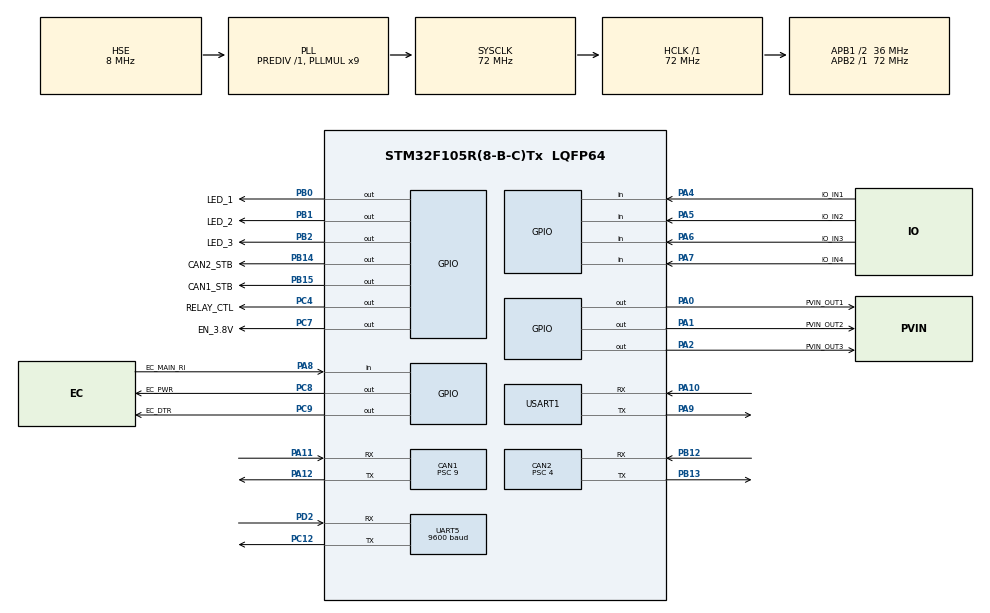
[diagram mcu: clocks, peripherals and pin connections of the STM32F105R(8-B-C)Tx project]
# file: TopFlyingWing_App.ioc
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CAN1.AWUM=ENABLE
CAN1.BS1=CAN_BS1_13TQ
CAN1.BS2=CAN_BS2_2TQ
CAN1.CalculateBaudRate=250000
CAN1.CalculateTimeBit=4000
CAN1.CalculateTimeQuantum=250.0
CAN1.NART=ENABLE
CAN1.Prescaler=9
CAN2.AWUM=ENABLE
CAN2.BS1=CAN_BS1_15TQ
CAN2.BS2=CAN_BS2_2TQ
CAN2.CalculateBaudRate=500000
CAN2.CalculateTimeBit=2000
CAN2.CalculateTimeQuantum=111.11111111111111
CAN2.NART=ENABLE
CAN2.Prescaler=4
Dma.Request0=USART1_RX
Dma.Request1=USART1_TX
Dma.USART1_RX.0.Direction=DMA_PERIPH_TO_MEMORY
Dma.USART1_RX.0.Instance=DMA1_Channel5
Dma.USART1_RX.0.MemDataAlignment=DMA_MDATAALIGN_BYTE
Dma.USART1_RX.0.MemInc=DMA_MINC_ENABLE
Dma.USART1_RX.0.Mode=DMA_CIRCULAR
Dma.USART1_RX.0.PeriphDataAlignment=DMA_PDATAALIGN_BYTE
Dma.USART1_RX.0.PeriphInc=DMA_PINC_DISABLE
Dma.USART1_RX.0.Priority=DMA_PRIORITY_LOW
Dma.USART1_TX.1.Direction=DMA_MEMORY_TO_PERIPH
Dma.USART1_TX.1.Instance=DMA1_Channel4
Dma.USART1_TX.1.MemDataAlignment=DMA_MDATAALIGN_BYTE
Dma.USART1_TX.1.MemInc=DMA_MINC_ENABLE
Dma.USART1_TX.1.Mode=DMA_NORMAL
Dma.USART1_TX.1.PeriphDataAlignment=DMA_PDATAALIGN_BYTE
Dma.USART1_TX.1.PeriphInc=DMA_PINC_DISABLE
Dma.USART1_TX.1.Priority=DMA_PRIORITY_LOW
Mcu.Family=STM32F1
Mcu.Name=STM32F105R(8-B-C)Tx
Mcu.Package=LQFP64
NVIC.CAN1_RX0_IRQn=true\:0\:0\:false\:false\:true\:true\:true\:true
NVIC.CAN1_RX1_IRQn=true\:0\:0\:false\:false\:true\:true\:true\:true
NVIC.CAN1_SCE_IRQn=true\:0\:0\:false\:false\:true\:true\:true\:true
NVIC.CAN1_TX_IRQn=true\:0\:0\:false\:false\:true\:true\:true\:true
NVIC.CAN2_RX0_IRQn=true\:0\:0\:false\:false\:true\:true\:true\:true
NVIC.CAN2_RX1_IRQn=true\:0\:0\:false\:false\:true\:true\:true\:true
NVIC.CAN2_SCE_IRQn=true\:0\:0\:false\:false\:true\:true\:true\:true
NVIC.CAN2_TX_IRQn=true\:0\:0\:false\:false\:true\:true\:true\:true
NVIC.DMA1_Channel4_IRQn=true\:0\:0\:false\:false\:true\:false\:true\:true
NVIC.DMA1_Channel5_IRQn=true\:0\:0\:false\:false\:true\:false\:true\:true
NVIC.PriorityGroup=NVIC_PRIORITYGROUP_4
NVIC.TIM1_UP_IRQn=true\:15\:0\:false\:false\:true\:false\:true\:true
NVIC.TimeBase=TIM1_UP_IRQn
NVIC.TimeBaseIP=TIM1
NVIC.UART5_IRQn=true\:0\:0\:false\:false\:true\:true\:true\:true
NVIC.USART1_IRQn=true\:0\:0\:false\:false\:true\:false\:true\:true
PA0-WKUP.GPIO_Label=PVIN_OUT1
PA0-WKUP.Signal=GPIO_Output
PA1.GPIO_Label=PVIN_OUT2
PA1.Signal=GPIO_Output
PA10.Mode=Asynchronous
PA10.Signal=USART1_RX
PA11.Mode=CAN_Activate
PA11.Signal=CAN1_RX
PA12.Mode=CAN_Activate
PA12.Signal=CAN1_TX
PA13.Mode=Serial_Wire
PA13.Signal=SYS_JTMS-SWDIO
PA14.Mode=Serial_Wire
PA14.Signal=SYS_JTCK-SWCLK
PA2.GPIO_Label=PVIN_OUT3
PA2.PinState=GPIO_PIN_SET
PA2.Signal=GPIO_Output
PA4.GPIO_Label=IO_IN1
PA4.Signal=GPIO_Input
PA5.GPIO_Label=IO_IN2
PA5.Signal=GPIO_Input
PA6.GPIO_Label=IO_IN3
PA6.Signal=GPIO_Input
PA7.GPIO_Label=IO_IN4
PA7.Signal=GPIO_Input
PA8.GPIO_Label=EC_MAIN_RI
PA8.Signal=GPIO_Input
PA9.Mode=Asynchronous
PA9.Signal=USART1_TX
PB0.GPIO_Label=LED_1
PB0.Signal=GPIO_Output
PB1.GPIO_Label=LED_2
PB1.Signal=GPIO_Output
PB12.Mode=CAN_Activate
PB12.Signal=CAN2_RX
PB13.Mode=CAN_Activate
PB13.Signal=CAN2_TX
PB14.GPIO_Label=CAN2_STB
PB14.Signal=GPIO_Output
PB15.GPIO_Label=CAN1_STB
PB15.Signal=GPIO_Output
PB2.GPIO_Label=LED_3
PB2.Signal=GPIO_Output
PC12.Mode=Asynchronous
PC12.Signal=UART5_TX
PC4.GPIO_Label=RELAY_CTL
PC4.Signal=GPIO_Output
PC7.GPIO_Label=EN_3.8V
PC7.Signal=GPIO_Output
PC8.GPIO_Label=EC_PWR
PC8.Signal=GPIO_Output
PC9.GPIO_Label=EC_DTR
PC9.Signal=GPIO_Output
PD0-OSC_IN.Mode=HSE-External-Oscillator
PD0-OSC_IN.Signal=RCC_OSC_IN
PD1-OSC_OUT.Mode=HSE-External-Oscillator
PD1-OSC_OUT.Signal=RCC_OSC_OUT
PD2.Mode=Asynchronous
PD2.Signal=UART5_RX
ProjectManager.HeapSize=0x2000
ProjectManager.StackSize=0x1000
ProjectManager.TargetToolchain=CMake
RCC.AHBFreq_Value=72000000
RCC.APB1CLKDivider=RCC_HCLK_DIV2
RCC.APB1Freq_Value=36000000
RCC.APB1TimFreq_Value=72000000
RCC.APB2Freq_Value=72000000
RCC.APB2TimFreq_Value=72000000
RCC.HCLKFreq_Value=72000000
RCC.PLLMUL=RCC_PLL_MUL9
RCC.PLLSourceVirtual=RCC_PLLSOURCE_HSE
RCC.SYSCLKFreq_VALUE=72000000
RCC.SYSCLKSource=RCC_SYSCLKSOURCE_PLLCLK
RCC.USBFreq_Value=48000000
UART5.BaudRate=9600
UART5.VirtualMode=Asynchronous
USART1.VirtualMode=VM_ASYNC
VP_SYS_VS_tim1.Mode=TIM1
board=custom

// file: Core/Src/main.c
/* USER CODE BEGIN Header */
/**
 ******************************************************************************
 * @file           : main.c
 * @brief          : Main program body
 ******************************************************************************
 * @attention
 *
 * Copyright (c) 2026 STMicroelectronics.
 * All rights reserved.
 *
 * This software is licensed under terms that can be found in the LICENSE file
 * in the root directory of this software component.
 * If no LICENSE file comes with this software, it is provided AS-IS.
 *
 ******************************************************************************
 */
/* USER CODE END Header */
#include "main.h"
#include "can.h"
#include "dma.h"
#include "usart.h"
#include "gpio.h"

/* USER CODE BEGIN Includes */
#include <inttypes.h>
#include <stdint.h>
#include <stdio.h>
#include <string.h>

#include "boot_cfg.h"
#include "app_version.h"
#include "app_log.h"
#include "abox_product_port.h"
#include "board_config.h"
#include "boot_state.h"
#include "ec800_at.h"
#include "abox_ec800_rx.h"
#include "ec_power.h"
#include "mqtt_app.h"
#include "mqtt_core.h"
#include "ota_service.h"
#include "time_base.h"
#include "mqtt_runtime.h"
#include "wing_enrollment.h"
#include "abox_stm32_monotonic.h"
#include "wing_app_service.h"
#include "wing_controller.h"
/* USER CODE END Includes */

/* USER CODE BEGIN PV */
static MQTT_CoreConfig_t g_mqtt_cfg = {0};
static Ec800AtCore_t g_ec800_at;

#define UART1_RX_BUF_SZ 1088U
#define UART1_RX_RING_SZ 1152U
static uint8_t uart1_rx_buf[UART1_RX_BUF_SZ];
static uint8_t g_uart1_rx_ring[UART1_RX_RING_SZ];
static ABoxEc800Rx g_ec800_rx;

/* USER CODE END PV */

void SystemClock_Config(void);

/* USER CODE BEGIN 0 */
int fputc(int ch, FILE* f)
{
    (void)ch;
    (void)f;
    return ch;
}

const char g_top_flying_wing_fw_version_marker[] = TOP_FLYING_WING_APP_FW_VERSION_MARKER;
const char g_top_wing_mcu_marker[] = "TOP_FLYING_WING_MCU=STM32F105RCT6";

const char* TopFlyingWing_AppFwVersion(void)
{
    return TOP_FLYING_WING_APP_FW_VERSION;
}

static void MQTT_ConfigInit(void)
{
    const BoardConfigStore_t* cfg = BoardConfig_Get();

    memset(&g_mqtt_cfg, 0, sizeof(g_mqtt_cfg));

    g_mqtt_cfg.client_idx = 0;

    strncpy(g_mqtt_cfg.server_host, cfg->mqtt_host, sizeof(g_mqtt_cfg.server_host) - 1);
    g_mqtt_cfg.server_port = cfg->mqtt_port;

    strncpy(g_mqtt_cfg.client_id, cfg->vid, sizeof(g_mqtt_cfg.client_id) - 1);
    strncpy(g_mqtt_cfg.username, cfg->mqtt_username, sizeof(g_mqtt_cfg.username) - 1);
    strncpy(g_mqtt_cfg.password, cfg->mqtt_password, sizeof(g_mqtt_cfg.password) - 1);

    memset(g_mqtt_cfg.sub_topics, 0, sizeof(g_mqtt_cfg.sub_topics));
    g_mqtt_cfg.sub_topic_count = 0U;
    g_mqtt_cfg.pub_topic[0] = '\0';
}

static uint32_t Ec800Tick(void *context)
{
    (void)context;
    return HAL_GetTick();
}

static int Ec800Write(void *context, const uint8_t *data, uint16_t length,
                      uint32_t timeout_ms)
{
    return HAL_UART_Transmit((UART_HandleTypeDef *)context, (uint8_t *)data,
                             length, timeout_ms) == HAL_OK;
}

/* USER CODE END 0 */

int main(void)
{

  /* USER CODE BEGIN 1 */
    SCB->VTOR = APP_START_ADDR;
    __DSB();
    __ISB();
    // __enable_irq();
  /* USER CODE END 1 */

  /* MCU Configuration--------------------------------------------------------*/

  /* Reset of all peripherals, Initializes the Flash interface and the Systick. */
  HAL_Init();

  /* USER CODE BEGIN Init */
    __enable_irq();
  /* USER CODE END Init */

  /* Configure the system clock */
  SystemClock_Config();

  /* Initialize all configured peripherals */
  MX_GPIO_Init();
  MX_DMA_Init();
  MX_CAN1_Init();
  MX_CAN2_Init();
  MX_USART1_UART_Init();
  MX_UART5_Init();
  /* USER CODE BEGIN 2 */

    ABoxStm32Monotonic_Init();
    ABox_ProductPlatform_Init();

    AppLog_Init();
    TimeBase_Init();
    APP_LOGI("APP", "boot");
    APP_LOGI("APP", "fw=%s", TopFlyingWing_AppFwVersion());
    APP_LOGI("APP", "%s", g_top_flying_wing_fw_version_marker);
    APP_LOGI("APP", "%s", g_top_wing_mcu_marker);

    EC_Power_Init();
    EC_Power_StartRestartSequence();

    APP_LOGI("EC", "restart sequence");

    int communication_ok = ABoxEc800Rx_Init(&g_ec800_rx, uart1_rx_buf, UART1_RX_BUF_SZ,
                                           g_uart1_rx_ring, UART1_RX_RING_SZ);

    BoardConfig_Load();
    AppLog_SetLevel((AppLogLevel_t)BoardConfig_Get()->diag_log_level);
    WingController_Init();

    MQTT_ConfigInit();

    {
        const ABoxEc800AtPort at_port = {&huart1, Ec800Tick, Ec800Write, 0};
        communication_ok = EC800_AT_Init(&g_ec800_at, &at_port) && communication_ok;
    }
    MQTT_Core_SetAtCore(&g_ec800_at);
    MQTT_Core_Init(&g_mqtt_cfg, MQTT_App_OnMessage);
    OtaService_Init(&g_ec800_at);

    if (!WingEnrollment_Init(&g_ec800_at)) APP_LOGE("ENROLL", "initialization failed");
    MQTT_App_Init(WingEnrollment_DeviceId());
    MQTT_Core_SetTopics(MQTT_App_GetSubTopics(), MQTT_App_GetSubTopicCount(), MQTT_App_GetHeartbeatTopic());
    communication_ok = MqttRuntime_Init() && communication_ok;
    communication_ok = communication_ok && WingAppService_Init(&g_ec800_at, &g_ec800_rx);
    if (!communication_ok)
        APP_LOGE("APP", "communication initialization failed");

  /* USER CODE END 2 */

  /* Infinite loop */
  /* USER CODE BEGIN WHILE */
    while (1)
    {
        WingAppService_Poll(HAL_GetTick());
        if (!communication_ok) WingController_Task(HAL_GetTick());
    /* USER CODE END WHILE */

    }
}

void SystemClock_Config(void)
{
  RCC_OscInitTypeDef RCC_OscInitStruct = {0};
  RCC_ClkInitTypeDef RCC_ClkInitStruct = {0};

  /** Initializes the RCC Oscillators according to the specified parameters
  * in the RCC_OscInitTypeDef structure.
  */
  RCC_OscInitStruct.OscillatorType = RCC_OSCILLATORTYPE_HSE;
  RCC_OscInitStruct.HSEState = RCC_HSE_ON;
  RCC_OscInitStruct.HSEPredivValue = RCC_HSE_PREDIV_DIV1;
  RCC_OscInitStruct.HSIState = RCC_HSI_ON;
  RCC_OscInitStruct.Prediv1Source = RCC_PREDIV1_SOURCE_HSE;
  RCC_OscInitStruct.PLL.PLLState = RCC_PLL_ON;
  RCC_OscInitStruct.PLL.PLLSource = RCC_PLLSOURCE_HSE;
  RCC_OscInitStruct.PLL.PLLMUL = RCC_PLL_MUL9;
  RCC_OscInitStruct.PLL2.PLL2State = RCC_PLL_NONE;
  if (HAL_RCC_OscConfig(&RCC_OscInitStruct) != HAL_OK)
  {
    Error_Handler();
  }

  /** Initializes the CPU, AHB and APB buses clocks
  */
  RCC_ClkInitStruct.ClockType = RCC_CLOCKTYPE_HCLK|RCC_CLOCKTYPE_SYSCLK
                              |RCC_CLOCKTYPE_PCLK1|RCC_CLOCKTYPE_PCLK2;
  RCC_ClkInitStruct.SYSCLKSource = RCC_SYSCLKSOURCE_PLLCLK;
  RCC_ClkInitStruct.AHBCLKDivider = RCC_SYSCLK_DIV1;
  RCC_ClkInitStruct.APB1CLKDivider = RCC_HCLK_DIV2;
  RCC_ClkInitStruct.APB2CLKDivider = RCC_HCLK_DIV1;

  if (HAL_RCC_ClockConfig(&RCC_ClkInitStruct, FLASH_LATENCY_2) != HAL_OK)
  {
    Error_Handler();
  }

  /** Configure the Systick interrupt time
  */
  __HAL_RCC_PLLI2S_ENABLE();
}

/* USER CODE BEGIN 4 */
void HAL_CAN_RxFifo0MsgPendingCallback(CAN_HandleTypeDef* hcan)
{
    WingController_OnCanRx(hcan);
}

void HAL_UARTEx_RxEventCallback(UART_HandleTypeDef* huart, uint16_t Size)
{
    if (huart->Instance == USART1)
    {
        (void)ABoxEc800Rx_OnDmaEvent(&g_ec800_rx, Size);
    }
    else { (void)Size; }
}

void HAL_UART_ErrorCallback(UART_HandleTypeDef* huart)
{
    if (huart->Instance == USART1)
    {
        ABoxEc800Rx_RequestRestart(&g_ec800_rx);
        APP_LOGE("AT", "USART1 error=0x%08lX state=%u mqtt_st=%u rx_age=%lu pub_age=%lu",
                 (unsigned long)huart->ErrorCode, (unsigned)HAL_UART_GetState(huart),
                 (unsigned)MQTT_Core_GetState(),
                 (unsigned long)MQTT_Core_GetLastRxAgeMs(),
                 (unsigned long)MQTT_Core_GetLastPubOkAgeMs());
    }
}
/* USER CODE END 4 */

void HAL_TIM_PeriodElapsedCallback(TIM_HandleTypeDef *htim)
{
  if (htim->Instance == TIM1)
  {
    HAL_IncTick();
  }
}

void Error_Handler(void)
{
    __disable_irq();
    while (1) {}
}
